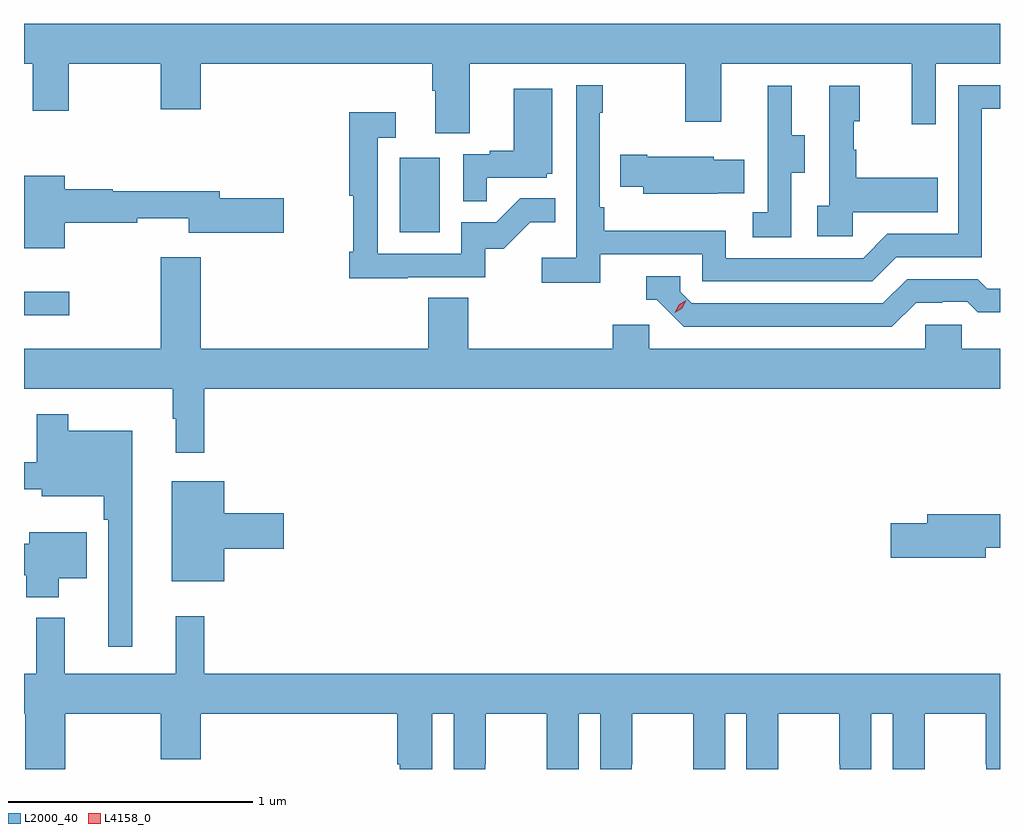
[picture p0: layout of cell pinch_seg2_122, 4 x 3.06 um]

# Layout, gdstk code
import gdstk
lib = gdstk.Library(unit=1e-6, precision=1e-09)
def R(c, l, rs):  # rectangles x0, y0, x1, y1
    for r in rs: c.add(gdstk.rectangle(r[:2], r[2:], *l))
def P(c, l, *ps):  # polygons
    for p in ps: c.add(gdstk.Polygon(p, *l))
L2000_40 = (2000, 40)
L4158_0 = (4158, 0)

pinch_seg2_122 = lib.new_cell('pinch_seg2_122')
R(pinch_seg2_122, L2000_40, [(1075.535,626.624,1075.72,626.721), (1077.074,626.964,1077.238,627.271)])
P(pinch_seg2_122, L2000_40, [(1077.361,627.656),(1078.246,627.656),(1078.246,627.417),(1078.393,627.417),(1078.393,627.656),(1079.174,627.656),(1079.174,627.408),(1079.271,627.408),(1079.271,627.656),(1079.535,627.656),(1079.535,627.82),(1075.535,627.82),(1075.535,627.656),(1075.571,627.656),(1075.571,627.462),(1075.719,627.462),(1075.719,627.656),(1076.096,627.656),(1076.096,627.468),(1076.26,627.468),(1076.26,627.656),(1077.209,627.656),(1077.209,627.544),(1077.221,627.544),(1077.221,627.37),(1077.361,627.37)],
  [(1077.896,626.874),(1078.314,626.874),(1078.314,626.763),(1079.011,626.763),(1079.11,626.862),(1079.46,626.862),(1079.46,627.471),(1079.535,627.471),(1079.535,627.567),(1079.364,627.567),(1079.364,626.958),(1079.073,626.958),(1078.974,626.859),(1078.41,626.859),(1078.41,626.971),(1077.914,626.971),(1077.914,627.067),(1077.894,627.067),(1077.894,627.455),(1077.907,627.455),(1077.907,627.568),(1077.798,627.568),(1077.798,626.86),(1077.657,626.86),(1077.657,626.758),(1077.896,626.758)],
  [(1078.932,627.047),(1079.279,627.047),(1079.279,627.187),(1078.945,627.187),(1078.945,627.302),(1078.935,627.302),(1078.935,627.42),(1078.96,627.42),(1078.96,627.565),(1078.836,627.565),(1078.836,627.074),(1078.785,627.074),(1078.785,626.949),(1078.932,626.949)],
  [(1078.68,627.208),(1078.735,627.208),(1078.735,627.363),(1078.681,627.363),(1078.681,627.565),(1078.583,627.565),(1078.583,627.351),(1078.584,627.351),(1078.584,627.047),(1078.521,627.047),(1078.521,626.944),(1078.68,626.944)],
  [(1077.431,627.189),(1077.678,627.189),(1077.678,627.204),(1077.7,627.204),(1077.7,627.553),(1077.542,627.553),(1077.542,627.298),(1077.443,627.298),(1077.443,627.285),(1077.336,627.285),(1077.336,627.091),(1077.431,627.091)],
  [(1077.107,626.781),(1077.426,626.781),(1077.426,626.898),(1077.502,626.898),(1077.609,627.005),(1077.713,627.005),(1077.713,627.104),(1077.569,627.104),(1077.471,627.006),(1077.327,627.006),(1077.327,626.877),(1076.985,626.877),(1076.985,627.351),(1077.058,627.351),(1077.058,627.457),(1076.869,627.457),(1076.869,627.114),(1076.884,627.114),(1076.884,626.884),(1076.869,626.884),(1076.869,626.776),(1077.107,626.776)],
  [(1078.379,627.125),(1078.487,627.125),(1078.487,627.262),(1078.362,627.262),(1078.362,627.274),(1078.09,627.274),(1078.09,627.282),(1077.979,627.282),(1077.979,627.152),(1078.073,627.152),(1078.073,627.122),(1078.379,627.122)],
  [(1075.702,627.004),(1076,627.004),(1076,627.023),(1076.21,627.023),(1076.21,626.962),(1076.599,626.962),(1076.599,627.104),(1076.338,627.104),(1076.338,627.133),(1075.898,627.133),(1075.898,627.14),(1075.702,627.14),(1075.702,627.196),(1075.535,627.196),(1075.535,626.9),(1075.702,626.9)],
  [(1076.273,626.324),(1079.535,626.324),(1079.535,626.488),(1079.379,626.488),(1079.379,626.586),(1079.229,626.586),(1079.229,626.488),(1078.098,626.488),(1078.098,626.586),(1077.947,626.586),(1077.947,626.488),(1077.356,626.488),(1077.356,626.696),(1077.191,626.696),(1077.191,626.488),(1076.26,626.488),(1076.26,626.863),(1076.096,626.863),(1076.096,626.488),(1075.535,626.488),(1075.535,626.324),(1076.145,626.324),(1076.145,626.201),(1076.156,626.201),(1076.156,626.061),(1076.273,626.061)],
  [(1079.191,626.676),(1079.298,626.676),(1079.298,626.679),(1079.401,626.679),(1079.443,626.637),(1079.535,626.637),(1079.535,626.733),(1079.482,626.733),(1079.443,626.772),(1079.154,626.772),(1079.055,626.673),(1078.272,626.673),(1078.224,626.721),(1078.224,626.784),(1078.085,626.784),(1078.085,626.688),(1078.128,626.688),(1078.239,626.577),(1079.092,626.577)],
  [(1075.978,626.152),(1075.717,626.152),(1075.717,626.218),(1075.588,626.218),(1075.588,626.023),(1075.535,626.023),(1075.535,625.912),(1075.607,625.912),(1075.607,625.883),(1075.861,625.883),(1075.861,625.787),(1075.881,625.787),(1075.881,625.266),(1075.978,625.266)],
  [(1076.356,625.667),(1076.599,625.667),(1076.599,625.814),(1076.356,625.814),(1076.356,625.945),(1076.141,625.945),(1076.141,625.535),(1076.356,625.535)],
  [(1079.476,625.672),(1079.535,625.672),(1079.535,625.808),(1079.237,625.808),(1079.237,625.772),(1079.088,625.772),(1079.088,625.63),(1079.476,625.63)],
  [(1075.678,625.547),(1075.792,625.547),(1075.792,625.735),(1075.556,625.735),(1075.556,625.687),(1075.535,625.687),(1075.535,625.558),(1075.544,625.558),(1075.544,625.469),(1075.678,625.469)],
  [(1075.705,624.992),(1076.096,624.992),(1076.096,624.804),(1076.26,624.804),(1076.26,624.992),(1077.065,624.992),(1077.065,624.784),(1077.074,624.784),(1077.074,624.763),(1077.208,624.763),(1077.208,624.992),(1077.296,624.992),(1077.296,624.763),(1077.426,624.763),(1077.426,624.784),(1077.427,624.784),(1077.427,624.992),(1077.677,624.992),(1077.677,624.784),(1077.678,624.784),(1077.678,624.763),(1077.808,624.763),(1077.808,624.992),(1077.896,624.992),(1077.896,624.763),(1078.026,624.763),(1078.026,624.784),(1078.027,624.784),(1078.027,624.992),(1078.277,624.992),(1078.277,624.784),(1078.278,624.784),(1078.278,624.763),(1078.408,624.763),(1078.408,624.992),(1078.496,624.992),(1078.496,624.763),(1078.626,624.763),(1078.626,624.784),(1078.627,624.784),(1078.627,624.992),(1078.877,624.992),(1078.877,624.784),(1078.878,624.784),(1078.878,624.763),(1079.008,624.763),(1079.008,624.992),(1079.096,624.992),(1079.096,624.763),(1079.226,624.763),(1079.226,624.784),(1079.227,624.784),(1079.227,624.992),(1079.477,624.992),(1079.477,624.784),(1079.478,624.784),(1079.478,624.763),(1079.535,624.763),(1079.535,625.156),(1076.273,625.156),(1076.273,625.39),(1076.156,625.39),(1076.156,625.156),(1075.703,625.156),(1075.703,625.384),(1075.585,625.384),(1075.585,625.156),(1075.535,625.156),(1075.535,624.992),(1075.541,624.992),(1075.541,624.763),(1075.705,624.763)])
P(pinch_seg2_122, L4158_0, [(1078.201,626.634),(1078.201,626.635),(1078.218,626.667),(1078.249,626.686),(1078.249,626.686),(1078.249,626.686),(1078.232,626.654),(1078.201,626.634)])

lib.write_gds('pinch_seg2_122.gds')
